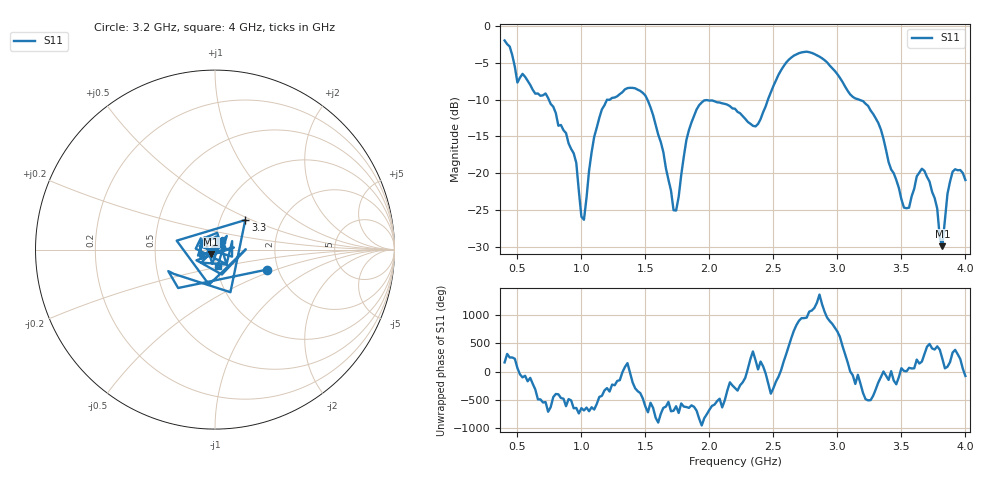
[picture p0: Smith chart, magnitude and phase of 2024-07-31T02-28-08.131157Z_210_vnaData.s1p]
!Created with skrf (http://scikit-rf.org).
# Hz S RI R 50.0
!freq ReS11 ImS11
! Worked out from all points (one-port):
!   181 points, 400 MHz to 4 GHz, reference 50 ohm
!   lowest |S11| = -29.9 dB at 3.82 GHz (marker M1), VSWR 1.07, Z = 47.9 - j2.28 ohm
!   |S11| at or under -10 dB: 745.6 MHz to 1.222 GHz (476.4 MHz wide, 48.4 % of centre); 1.516 GHz to 2.457 GHz (941.8 MHz wide, 47.4 % of centre); 3.169 GHz to end of sweep
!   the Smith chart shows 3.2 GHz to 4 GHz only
!   S11 on the Smith chart (normalised r, x): 3.2 GHz: 1.74, -0.43; 3.3 GHz: 1.31, +0.46; 4 GHz: 1.01, -0.18
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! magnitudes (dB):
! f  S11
! 400 MHz  -2.0
! 500 MHz  -7.7
! 720 MHz  -9.2
! 860 MHz  -14.1
! 960 MHz  -18.6
! 1.02 GHz  -26.3
! 1.08 GHz  -17.1
! 1.14 GHz  -12.5
! 1.3 GHz  -9.2
! 1.5 GHz  -9.4
! 1.64 GHz  -17.1
! 1.72 GHz  -25.0
! 1.76 GHz  -23.2
! 1.82 GHz  -15.5
! 1.92 GHz  -10.7
! 2.2 GHz  -11.2
! 2.36 GHz  -13.6
! 2.66 GHz  -4.0
! 2.88 GHz  -4.4
! 3.1 GHz  -9.3
! 3.2 GHz  -10.2
! 3.3 GHz  -12.6
! 3.56 GHz  -24.7
! 3.68 GHz  -19.7
! 3.78 GHz  -24.8
! 3.82 GHz  -29.9
! 3.9 GHz  -19.8
! 4 GHz  -20.9
